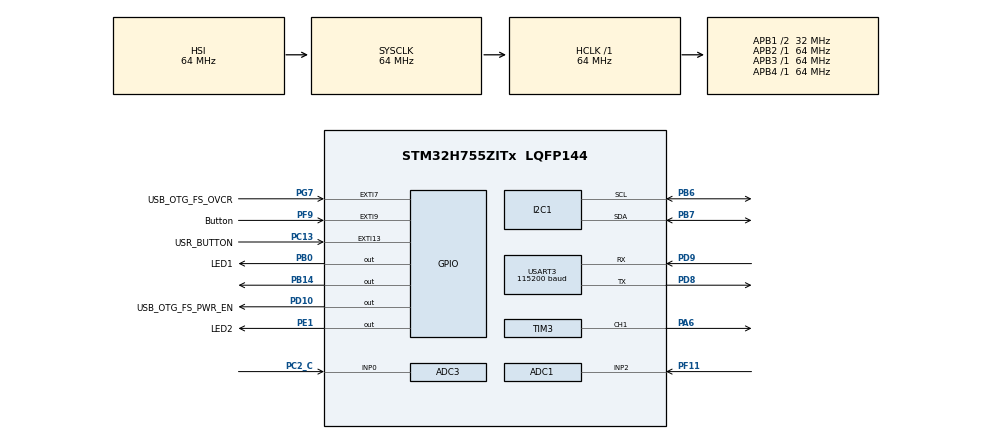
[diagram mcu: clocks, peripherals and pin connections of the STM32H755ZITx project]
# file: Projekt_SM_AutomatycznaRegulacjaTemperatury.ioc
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ADC1.Channel-0\#ChannelRegularConversion=ADC_CHANNEL_2
ADC1.NbrOfConversionFlag=1
ADC1.OffsetNumber-0\#ChannelRegularConversion=ADC_OFFSET_NONE
ADC1.OffsetSignedSaturation-0\#ChannelRegularConversion=DISABLE
ADC1.Rank-0\#ChannelRegularConversion=1
ADC1.SamplingTime-0\#ChannelRegularConversion=ADC_SAMPLETIME_1CYCLE_5
ADC1.master=1
ADC3.Channel-0\#ChannelRegularConversion=ADC_CHANNEL_0
ADC3.NbrOfConversionFlag=1
ADC3.OffsetNumber-0\#ChannelRegularConversion=ADC_OFFSET_NONE
ADC3.OffsetSignedSaturation-0\#ChannelRegularConversion=DISABLE
ADC3.Rank-0\#ChannelRegularConversion=1
ADC3.SamplingTime-0\#ChannelRegularConversion=ADC_SAMPLETIME_1CYCLE_5
CortexM4.IPs=FATFS_M4\:I,FREERTOS_M4\:I,IWDG2\:I,RCC,WWDG2\:I,DMA,BDMA,MDMA,NVIC2\:I,ETH,USART3,DEBUG,PDM2PCM_M4\:I,PWR,RESMGR_UTILITY,SYS_M4\:I,USB_DEVICE_M4\:I,USB_HOST_M4\:I,CORTEX_M4\:I,GPIO,OPENAMP_M4\:I,VREFBUF,NUCLEO-H755ZI-Q
CortexM7.IPs=FATFS_M7\:I,FREERTOS_M7\:I,IWDG1\:I,RCC\:I,WWDG1\:I,DMA\:I,BDMA\:I,MDMA\:I,NVIC1\:I,ETH\:I,USART3\:I,USB_OTG_FS\:I,SYS\:I,CORTEX_M7\:I,DEBUG\:I,PDM2PCM_M7\:I,PWR\:I,RESMGR_UTILITY\:I,USB_DEVICE_M7\:I,USB_HOST_M7\:I,GPIO\:I,OPENAMP_M7\:I,VREFBUF\:I,NUCLEO-H755ZI-Q\:I,MEMORYMAP\:I,TIM6\:I,ADC1\:I,TIM3\:I,I2C1\:I,ADC3\:I
CortexM7.Pins=PC13,PF9,PB0,PE1
I2C1.Timing=0x00707CBB
Mcu.Family=STM32H7
Mcu.Name=STM32H755ZITx
Mcu.Package=LQFP144
NVIC1.EXTI15_10_IRQn=true\:0\:0\:false\:false\:true\:true\:true\:true
NVIC1.EXTI9_5_IRQn=true\:0\:0\:false\:false\:true\:true\:true\:true
NVIC1.PriorityGroup=NVIC_PRIORITYGROUP_4
NVIC1.TIM6_DAC_IRQn=true\:0\:0\:false\:false\:true\:true\:true\:true
NVIC1.USART3_IRQn=true\:0\:0\:false\:false\:true\:true\:true\:true
NVIC2.PriorityGroup=NVIC_PRIORITYGROUP_4
PA1.PinAttribute=CortexM7
PA1.Signal=ETH_REF_CLK
PA11.PinAttribute=CortexM7
PA11.Signal=USB_OTG_FS_DM
PA12.PinAttribute=CortexM7
PA12.Signal=USB_OTG_FS_DP
PA2.PinAttribute=CortexM7
PA2.Signal=ETH_MDIO
PA6.PinAttribute=CortexM7
PA6.Signal=S_TIM3_CH1
PA7.PinAttribute=CortexM7
PA7.Signal=ETH_CRS_DV
PA8.PinAttribute=CortexM7
PA8.Signal=USB_OTG_FS_SOF
PA9.PinAttribute=CortexM7
PA9.Signal=USB_OTG_FS_VBUS
PB0.GPIO_Label=LED1
PB0.PinAttribute=CortexM7
PB0.Signal=GPIO_Output
PB13.PinAttribute=CortexM7
PB13.Signal=ETH_TXD1
PB14.PinAttribute=Free
PB14.Signal=GPIO_Output
PB6.Mode=I2C
PB6.PinAttribute=CortexM7
PB6.Signal=I2C1_SCL
PB7.Mode=I2C
PB7.PinAttribute=CortexM7
PB7.Signal=I2C1_SDA
PC1.PinAttribute=CortexM7
PC1.Signal=ETH_MDC
PC13.GPIO_Label=USR_BUTTON
PC13.PinAttribute=CortexM7
PC13.Signal=GPXTI13
PC14-OSC32_IN\ (OSC32_IN).PinAttribute=Free
PC14-OSC32_IN\ (OSC32_IN).Signal=RCC_OSC32_IN
PC15-OSC32_OUT\ (OSC32_OUT).PinAttribute=Free
PC15-OSC32_OUT\ (OSC32_OUT).Signal=RCC_OSC32_OUT
PC2_C.Mode=IN0-Single-Ended
PC2_C.PinAttribute=CortexM7
PC2_C.Signal=ADC3_INP0
PC4.PinAttribute=CortexM7
PC4.Signal=ETH_RXD0
PC5.PinAttribute=CortexM7
PC5.Signal=ETH_RXD1
PD10.GPIO_Label=USB_OTG_FS_PWR_EN
PD10.PinAttribute=Free
PD10.Signal=GPIO_Output
PD8.Mode=Asynchronous
PD8.PinAttribute=CortexM7
PD8.Signal=USART3_TX
PD9.Mode=Asynchronous
PD9.PinAttribute=CortexM7
PD9.Signal=USART3_RX
PE1.GPIO_Label=LED2
PE1.PinAttribute=CortexM7
PE1.Signal=GPIO_Output
PF11.Mode=IN2-Single-Ended
PF11.PinAttribute=CortexM7
PF11.Signal=ADC1_INP2
PF9.GPIO_Label=Button
PF9.GPIO_PuPd=GPIO_PULLUP
PF9.PinAttribute=CortexM7
PF9.Signal=GPXTI9
PG11.PinAttribute=CortexM7
PG11.Signal=ETH_TX_EN
PG13.PinAttribute=CortexM7
PG13.Signal=ETH_TXD0
PG7.GPIO_Label=USB_OTG_FS_OVCR
PG7.PinAttribute=Free
PG7.Signal=GPXTI7
PH0-OSC_IN\ (PH0).PinAttribute=Free
PH0-OSC_IN\ (PH0).Signal=RCC_OSC_IN
PH1-OSC_OUT\ (PH1).PinAttribute=Free
PH1-OSC_OUT\ (PH1).Signal=RCC_OSC_OUT
ProjectManager.HeapSize=M4-0x200,M7-0x200
ProjectManager.StackSize=M4-0x400,M7-0x400
ProjectManager.TargetToolchain=STM32CubeIDE
RCC.ADCFreq_Value=80000000
RCC.APB1Freq_Value=32000000
RCC.APB2Freq_Value=64000000
RCC.APB3Freq_Value=64000000
RCC.APB4Freq_Value=64000000
RCC.CortexFreq_Value=64000000
RCC.D2PPRE1=RCC_APB1_DIV2
RCC.DIVM1=5
RCC.DIVM2=4
RCC.DIVN1=48
RCC.DIVN2=10
RCC.DIVQ1=5
RCC.HCLKFreq_Value=64000000
RCC.PLL2FRACN=0
RCC.PLL3FRACN=0
RCC.PLLFRACN=0
RCC.SYSCLKFreq_VALUE=64000000
RCC.SupplySource=PWR_DIRECT_SMPS_SUPPLY
RCC.USBFreq_Value=122880000
SH.S_TIM3_CH1.0=TIM3_CH1,PWM Generation1 CH1
TIM3.Channel-PWM\ Generation1\ CH1=TIM_CHANNEL_1
TIM3.Period=99
TIM3.Prescaler=63
TIM6.Period=9999
TIM6.Prescaler=639
USART3.BaudRate=115200
USART3.VirtualMode-Asynchronous=VM_ASYNC
VP_MEMORYMAP_VS_MEMORYMAP.Mode=CurAppReg
VP_SYS_M4_VS_Systick.Mode=SysTick
VP_TIM3_VS_ClockSourceINT.Mode=Internal
VP_TIM6_VS_ClockSourceINT.Mode=Enable_Timer
board=NUCLEO-H755ZI-Q

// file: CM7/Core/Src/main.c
/* USER CODE BEGIN Header */
/**
  ******************************************************************************
  * @file           : main.c
  * @brief          : Main program body
  ******************************************************************************
  * @attention
  *
  * Copyright (c) 2025 STMicroelectronics.
  * All rights reserved.
  *
  * This software is licensed under terms that can be found in the LICENSE file
  * in the root directory of this software component.
  * If no LICENSE file comes with this software, it is provided AS-IS.
  *
  ******************************************************************************
  */
/* USER CODE END Header */
#include "main.h"
#include "adc.h"
#include "i2c.h"
#include "memorymap.h"
#include "tim.h"
#include "usart.h"
#include "gpio.h"

/* USER CODE BEGIN Includes */
#include <string.h>
#include <stdio.h>
#include <stdlib.h>
#include "lm35.h"
#include "pwm.h"
#include "pid.h"
#include "i2c_lcd.h"
#include "pot.h"
/* USER CODE END Includes */

/* USER CODE BEGIN PD */

#ifndef HSEM_ID_0
#define HSEM_ID_0 (0U) /* HW semaphore 0*/
#endif

/* USER CODE END PD */

/* USER CODE BEGIN PV */
LM35_Filter_HandleTypeDef hfilter1 = LM35_FILTER_INIT_HANDLE(0.1f);
PWM_HandleTypeDef hpwm1 = PWM_INIT_HANDLE(&htim3, TIM_CHANNEL_1);
PID_HandleTypeDef hpid1 = PID_INIT_HANDLE(60, 4, 8, 20, 100, 0);
I2C_LCD_HandleTypeDef hi2c_lcd1 = I2C_LCD_INIT_HANDLE(&hi2c1, 0x27, 16, 2);
uint8_t rx_buffer[256];
uint8_t tx_buffer[256];
int cnt = 1;
int Edit = 0;
float NewSetPoint = 0;
float LM35_Temperature = 0;
int PWM_Duty = 0;
/* USER CODE END PV */

void SystemClock_Config(void);
void PeriphCommonClock_Config(void);

/* USER CODE BEGIN 0 */
void HAL_GPIO_EXTI_Callback(uint16_t GPIO_Pin)
{
	if (GPIO_Pin == Button_Pin)
	{
		if (Edit == 0)
		{
			Edit = 1;
			HAL_GPIO_WritePin(LED1_GPIO_Port, LED1_Pin, GPIO_PIN_SET);
		}
		else
		{
			Edit = 0;
			PID_SetReference(&hpid1, NewSetPoint);
			HAL_GPIO_WritePin(LED1_GPIO_Port, LED1_Pin, GPIO_PIN_RESET);
		}
	}
}
void HAL_UART_RxCpltCallback(UART_HandleTypeDef *huart)
{
	if (huart == &huart3)
	{
		float value = strtol((char*)&rx_buffer[1], 0, 10);
		if (rx_buffer[0] == 's')
		{
			PID_SetReference(&hpid1, value/100);
		}
		else if (rx_buffer[0] == 'p')
		{
			PID_SetTunings(&hpid1, value/100, hpid1.Ki, hpid1.Kd);
		}
		else if (rx_buffer[0] == 'i')
		{
			PID_SetTunings(&hpid1, hpid1.Kp, value/100, hpid1.Kd);
		}
		else if (rx_buffer[0] == 'd')
		{
			PID_SetTunings(&hpid1, hpid1.Kp, hpid1.Ki, value/100);
		}
		HAL_UART_Receive_IT(&huart3, rx_buffer, 5);
	}
}

void HAL_TIM_PeriodElapsedCallback(TIM_HandleTypeDef *htim)
{
	if (htim == &htim6)
	{
		char result[16];
		NewSetPoint = (float)POT_GetReg(&hadc3)/1000;
		LM35_Temperature = LM35_GetTemp(&hadc1, &hfilter1);
		int u = (int)PID_Calculate(&hpid1, LM35_Temperature);
		PWM_WriteDuty(&hpwm1, u);
		PWM_Duty = PWM_ReadDuty(&hpwm1);

		if (cnt%3 == 0)
		{
			cnt = 1;
			sprintf(result, "TEMP: %.1f   ", LM35_Temperature);
			I2C_LCD_SetCursor(&hi2c_lcd1, 0, 0);
			I2C_LCD_WriteString(&hi2c_lcd1, result);
			sprintf(result, "PWM:  %d%%   ", PWM_Duty);
			I2C_LCD_SetCursor(&hi2c_lcd1, 0, 1);
			I2C_LCD_WriteString(&hi2c_lcd1, result);
			sprintf(result, "%.1f   ", hpid1.SetPoint);
			I2C_LCD_SetCursor(&hi2c_lcd1, 12, 0);
			I2C_LCD_WriteString(&hi2c_lcd1, result);
			if (Edit == 1)
			{
				sprintf(result, "%.1f ", NewSetPoint);
				I2C_LCD_SetCursor(&hi2c_lcd1, 12, 1);
				I2C_LCD_WriteString(&hi2c_lcd1, result);
			}
			else
			{
				I2C_LCD_SetCursor(&hi2c_lcd1, 12, 1);
				I2C_LCD_WriteString(&hi2c_lcd1, "    ");
			}
		}
		else cnt++;

		memset(tx_buffer, 0, sizeof(tx_buffer));
		int tx_n = sprintf((char*)tx_buffer, "T: %.1f, PWM: %d, S: %.1f, P: %.3f, I: %.3f, D: %.3f   \n", LM35_Temperature, PWM_Duty, hpid1.SetPoint, hpid1.Kp, hpid1.Ki, hpid1.Kd);
		HAL_UART_Transmit(&huart3, tx_buffer, tx_n, 100);
	}
}
/* USER CODE END 0 */

int main(void)
{

/* USER CODE BEGIN Boot_Mode_Sequence_0 */
  int32_t timeout;
/* USER CODE END Boot_Mode_Sequence_0 */

/* USER CODE BEGIN Boot_Mode_Sequence_1 */
  /* Wait until CPU2 boots and enters in stop mode or timeout*/
  timeout = 0xFFFF;
  while((__HAL_RCC_GET_FLAG(RCC_FLAG_D2CKRDY) != RESET) && (timeout-- > 0));
  if ( timeout < 0 )
  {
  Error_Handler();
  }
/* USER CODE END Boot_Mode_Sequence_1 */
  /* MCU Configuration--------------------------------------------------------*/

  /* Reset of all peripherals, Initializes the Flash interface and the Systick. */
  HAL_Init();

  /* Configure the system clock */
  SystemClock_Config();

  /* Configure the peripherals common clocks */
  PeriphCommonClock_Config();
/* USER CODE BEGIN Boot_Mode_Sequence_2 */
/* When system initialization is finished, Cortex-M7 will release Cortex-M4 by means of
HSEM notification */
/*HW semaphore Clock enable*/
__HAL_RCC_HSEM_CLK_ENABLE();
/*Take HSEM */
HAL_HSEM_FastTake(HSEM_ID_0);
/*Release HSEM in order to notify the CPU2(CM4)*/
HAL_HSEM_Release(HSEM_ID_0,0);
/* wait until CPU2 wakes up from stop mode */
timeout = 0xFFFF;
while((__HAL_RCC_GET_FLAG(RCC_FLAG_D2CKRDY) == RESET) && (timeout-- > 0));
if ( timeout < 0 )
{
Error_Handler();
}
/* USER CODE END Boot_Mode_Sequence_2 */

  /* Initialize all configured peripherals */
  MX_GPIO_Init();
  MX_USART3_UART_Init();
  MX_TIM6_Init();
  MX_ADC1_Init();
  MX_TIM3_Init();
  MX_I2C1_Init();
  MX_ADC3_Init();
  /* USER CODE BEGIN 2 */
  //HAL_TIM_PWM_Start(&htim3, TIM_CHANNEL_1);
  PWM_Init(&hpwm1);
  I2C_LCD_Init(&hi2c_lcd1);
  HAL_TIM_Base_Start_IT(&htim6);
  HAL_UART_Receive_IT(&huart3, rx_buffer, 5);
  /* USER CODE END 2 */

  /* Infinite loop */
  while (1)
  {

  }
}

void SystemClock_Config(void)
{
  RCC_OscInitTypeDef RCC_OscInitStruct = {0};
  RCC_ClkInitTypeDef RCC_ClkInitStruct = {0};

  /** Supply configuration update enable
  */
  HAL_PWREx_ConfigSupply(PWR_DIRECT_SMPS_SUPPLY);

  /** Configure the main internal regulator output voltage
  */
  __HAL_PWR_VOLTAGESCALING_CONFIG(PWR_REGULATOR_VOLTAGE_SCALE3);

  while(!__HAL_PWR_GET_FLAG(PWR_FLAG_VOSRDY)) {}

  /** Macro to configure the PLL clock source
  */
  __HAL_RCC_PLL_PLLSOURCE_CONFIG(RCC_PLLSOURCE_HSI);

  /** Initializes the RCC Oscillators according to the specified parameters
  * in the RCC_OscInitTypeDef structure.
  */
  RCC_OscInitStruct.OscillatorType = RCC_OSCILLATORTYPE_HSI;
  RCC_OscInitStruct.HSIState = RCC_HSI_DIV1;
  RCC_OscInitStruct.HSICalibrationValue = RCC_HSICALIBRATION_DEFAULT;
  RCC_OscInitStruct.PLL.PLLState = RCC_PLL_NONE;
  if (HAL_RCC_OscConfig(&RCC_OscInitStruct) != HAL_OK)
  {
    Error_Handler();
  }

  /** Initializes the CPU, AHB and APB buses clocks
  */
  RCC_ClkInitStruct.ClockType = RCC_CLOCKTYPE_HCLK|RCC_CLOCKTYPE_SYSCLK
                              |RCC_CLOCKTYPE_PCLK1|RCC_CLOCKTYPE_PCLK2
                              |RCC_CLOCKTYPE_D3PCLK1|RCC_CLOCKTYPE_D1PCLK1;
  RCC_ClkInitStruct.SYSCLKSource = RCC_SYSCLKSOURCE_HSI;
  RCC_ClkInitStruct.SYSCLKDivider = RCC_SYSCLK_DIV1;
  RCC_ClkInitStruct.AHBCLKDivider = RCC_HCLK_DIV1;
  RCC_ClkInitStruct.APB3CLKDivider = RCC_APB3_DIV1;
  RCC_ClkInitStruct.APB1CLKDivider = RCC_APB1_DIV2;
  RCC_ClkInitStruct.APB2CLKDivider = RCC_APB2_DIV1;
  RCC_ClkInitStruct.APB4CLKDivider = RCC_APB4_DIV1;

  if (HAL_RCC_ClockConfig(&RCC_ClkInitStruct, FLASH_LATENCY_1) != HAL_OK)
  {
    Error_Handler();
  }
}

void PeriphCommonClock_Config(void)
{
  RCC_PeriphCLKInitTypeDef PeriphClkInitStruct = {0};

  /** Initializes the peripherals clock
  */
  PeriphClkInitStruct.PeriphClockSelection = RCC_PERIPHCLK_ADC;
  PeriphClkInitStruct.PLL2.PLL2M = 4;
  PeriphClkInitStruct.PLL2.PLL2N = 10;
  PeriphClkInitStruct.PLL2.PLL2P = 2;
  PeriphClkInitStruct.PLL2.PLL2Q = 2;
  PeriphClkInitStruct.PLL2.PLL2R = 2;
  PeriphClkInitStruct.PLL2.PLL2RGE = RCC_PLL2VCIRANGE_3;
  PeriphClkInitStruct.PLL2.PLL2VCOSEL = RCC_PLL2VCOMEDIUM;
  PeriphClkInitStruct.PLL2.PLL2FRACN = 0;
  PeriphClkInitStruct.AdcClockSelection = RCC_ADCCLKSOURCE_PLL2;
  if (HAL_RCCEx_PeriphCLKConfig(&PeriphClkInitStruct) != HAL_OK)
  {
    Error_Handler();
  }
}

void Error_Handler(void)
{
  __disable_irq();
  while (1)
  {
  }
}
